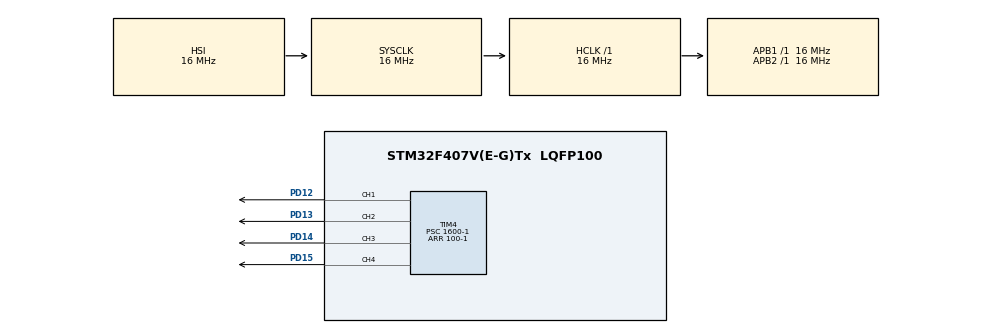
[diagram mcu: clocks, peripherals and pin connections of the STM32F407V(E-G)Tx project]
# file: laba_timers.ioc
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Dma.Request0=TIM4_CH2
Dma.TIM4_CH2.0.Direction=DMA_MEMORY_TO_PERIPH
Dma.TIM4_CH2.0.FIFOMode=DMA_FIFOMODE_DISABLE
Dma.TIM4_CH2.0.Instance=DMA1_Stream3
Dma.TIM4_CH2.0.MemDataAlignment=DMA_MDATAALIGN_HALFWORD
Dma.TIM4_CH2.0.MemInc=DMA_MINC_ENABLE
Dma.TIM4_CH2.0.Mode=DMA_CIRCULAR
Dma.TIM4_CH2.0.PeriphDataAlignment=DMA_PDATAALIGN_HALFWORD
Dma.TIM4_CH2.0.PeriphInc=DMA_PINC_DISABLE
Dma.TIM4_CH2.0.Priority=DMA_PRIORITY_LOW
Mcu.Family=STM32F4
Mcu.Name=STM32F407V(E-G)Tx
Mcu.Package=LQFP100
NVIC.DMA1_Stream3_IRQn=true\:0\:0\:false\:false\:true\:false\:true\:true
NVIC.PriorityGroup=NVIC_PRIORITYGROUP_4
NVIC.TIM6_DAC_IRQn=true\:0\:0\:false\:false\:true\:true\:true\:true
PA13.Mode=Serial_Wire
PA13.Signal=SYS_JTMS-SWDIO
PA14.Mode=Serial_Wire
PA14.Signal=SYS_JTCK-SWCLK
PD12.Signal=S_TIM4_CH1
PD13.Signal=S_TIM4_CH2
PD14.Signal=S_TIM4_CH3
PD15.Signal=S_TIM4_CH4
ProjectManager.HeapSize=0x200
ProjectManager.StackSize=0x400
ProjectManager.TargetToolchain=MDK-ARM V5.32
RCC.AHBFreq_Value=16000000
RCC.APB1Freq_Value=16000000
RCC.APB2Freq_Value=16000000
RCC.CortexFreq_Value=16000000
RCC.HSE_VALUE=25000000
RCC.HSI_VALUE=16000000
RCC.LSE_VALUE=32768
RCC.SYSCLKFreq_VALUE=16000000
RCC.VCOOutputFreq_Value=192000000
SH.S_TIM4_CH1.0=TIM4_CH1,PWM Generation1 CH1
SH.S_TIM4_CH2.0=TIM4_CH2,PWM Generation2 CH2
SH.S_TIM4_CH3.0=TIM4_CH3,PWM Generation3 CH3
SH.S_TIM4_CH4.0=TIM4_CH4,PWM Generation4 CH4
TIM4.Channel-PWM\ Generation1\ CH1=TIM_CHANNEL_1
TIM4.Channel-PWM\ Generation2\ CH2=TIM_CHANNEL_2
TIM4.Channel-PWM\ Generation3\ CH3=TIM_CHANNEL_3
TIM4.Channel-PWM\ Generation4\ CH4=TIM_CHANNEL_4
TIM4.OC1Preload_PWM=DISABLE
TIM4.OC2Preload_PWM=DISABLE
TIM4.OC3Preload_PWM=DISABLE
TIM4.OC4Preload_PWM=DISABLE
TIM4.OCMode_PWM-PWM\ Generation1\ CH1=TIM_OCMODE_PWM2
TIM4.OCMode_PWM-PWM\ Generation2\ CH2=TIM_OCMODE_PWM2
TIM4.OCMode_PWM-PWM\ Generation3\ CH3=TIM_OCMODE_PWM2
TIM4.OCMode_PWM-PWM\ Generation4\ CH4=TIM_OCMODE_PWM2
TIM4.OCPolarity_1=TIM_OCPOLARITY_LOW
TIM4.OCPolarity_2=TIM_OCPOLARITY_LOW
TIM4.OCPolarity_3=TIM_OCPOLARITY_LOW
TIM4.OCPolarity_4=TIM_OCPOLARITY_LOW
TIM4.Period=100-1
TIM4.Prescaler=1600-1
TIM6.Prescaler=16000-1
VP_TIM4_VS_ClockSourceINT.Mode=Internal
VP_TIM6_VS_ClockSourceINT.Mode=Enable_Timer
board=custom

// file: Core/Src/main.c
/* USER CODE BEGIN Header */
/**
  ******************************************************************************
  * @file           : main.c
  * @brief          : Main program body
  ******************************************************************************
  * @attention
  *
  * Copyright (c) 2024 STMicroelectronics.
  * All rights reserved.
  *
  * This software is licensed under terms that can be found in the LICENSE file
  * in the root directory of this software component.
  * If no LICENSE file comes with this software, it is provided AS-IS.
  *
  ******************************************************************************
  */
/* USER CODE END Header */
#include "main.h"
#include "dma.h"
#include "tim.h"
#include "gpio.h"

/* USER CODE BEGIN Includes */
#include <stdbool.h>
/* USER CODE END Includes */

/* USER CODE BEGIN PTD */
typedef enum
	{

	FLAG_TIMEOUT = 0,
  }flag_e_t;

  typedef struct{
    uint16_t power;
    bool up_power;
}LED_PowerState_s_t;

 typedef enum {
    BLUE,
    RED,
    ORANGE,
    GREEN
} LED_Color;

LED_PowerState_s_t LED_PowerState[4] = {
    {1, false},    //blue
    {25, false},    //red
    {50, false},     //orange
    {100, false}     //green
};

/* USER CODE END PTD */

/* USER CODE BEGIN PD */
#define LED_MASSIVE_POWER_MAX 200
/* USER CODE END PD */

/* USER CODE BEGIN PM */
#define FLAG_SET(flag) flags |= (1 << flag)
#define FLAG_RESET(flag) flags &= (~(1 << flag))
#define FLAG_CHECK(flag) (flags == (1 << flag))
/* USER CODE END PM */

/* USER CODE BEGIN PV */
  uint32_t flags = 0;
	uint16_t variable_timeout = 0;

	uint16_t led_mass_power[LED_MASSIVE_POWER_MAX] = {0};
/* USER CODE END PV */

void SystemClock_Config(void);
/* USER CODE BEGIN PFP */

void UpdateLEDs(void) {

       for (int i = 0; i < 4; i++) {
        if (LED_PowerState[i].up_power) {
            LED_PowerState[i].power++;
            if (LED_PowerState[i].power >= 100) {
                LED_PowerState[i].power = 100;
                LED_PowerState[i].up_power = false;
            }
        } else {
            LED_PowerState[i].power--;
            if (LED_PowerState[i].power == 0) {
                LED_PowerState[i].up_power = true;
            }
        }
    }

}
void ApplyPWM(void) {
    __HAL_TIM_SET_COMPARE(&htim4, TIM_CHANNEL_4, LED_PowerState[0].power);
    __HAL_TIM_SET_COMPARE(&htim4, TIM_CHANNEL_3, LED_PowerState[1].power);
    __HAL_TIM_SET_COMPARE(&htim4, TIM_CHANNEL_2, LED_PowerState[2].power);
    __HAL_TIM_SET_COMPARE(&htim4, TIM_CHANNEL_1, LED_PowerState[3].power);
}

/* USER CODE END PFP */

int main(void)
{

  /* MCU Configuration--------------------------------------------------------*/

  /* Reset of all peripherals, Initializes the Flash interface and the Systick. */
  HAL_Init();

  /* Configure the system clock */
  SystemClock_Config();

  /* Initialize all configured peripherals */
  MX_GPIO_Init();
  MX_DMA_Init();
  MX_TIM6_Init();
  MX_TIM4_Init();
  /* USER CODE BEGIN 2 */
	htim6.Init.Period = 100;
	HAL_TIM_Base_Init(&htim6);
	HAL_TIM_Base_Start_IT(&htim6);

	variable_timeout = 100;

	__HAL_TIM_SET_COMPARE(&htim4, TIM_CHANNEL_4, LED_PowerState[0].power);
  HAL_TIM_PWM_Start(&htim4, TIM_CHANNEL_4);
	__HAL_TIM_SET_COMPARE(&htim4, TIM_CHANNEL_3, LED_PowerState[1].power);
  HAL_TIM_PWM_Start(&htim4, TIM_CHANNEL_3);
	__HAL_TIM_SET_COMPARE(&htim4, TIM_CHANNEL_2, LED_PowerState[2].power);
  HAL_TIM_PWM_Start(&htim4, TIM_CHANNEL_2);
	__HAL_TIM_SET_COMPARE(&htim4, TIM_CHANNEL_1, LED_PowerState[3].power);
  HAL_TIM_PWM_Start(&htim4, TIM_CHANNEL_1);
  /* USER CODE END 2 */

  /* Infinite loop */
  while (1)
  {

    /* USER CODE BEGIN 3 */

    UpdateLEDs();
    ApplyPWM();
    HAL_Delay(20);

  }
  /* USER CODE END 3 */
}

void SystemClock_Config(void)
{
  RCC_OscInitTypeDef RCC_OscInitStruct = {0};
  RCC_ClkInitTypeDef RCC_ClkInitStruct = {0};

  /** Configure the main internal regulator output voltage
  */
  __HAL_RCC_PWR_CLK_ENABLE();
  __HAL_PWR_VOLTAGESCALING_CONFIG(PWR_REGULATOR_VOLTAGE_SCALE1);

  /** Initializes the RCC Oscillators according to the specified parameters
  * in the RCC_OscInitTypeDef structure.
  */
  RCC_OscInitStruct.OscillatorType = RCC_OSCILLATORTYPE_HSI;
  RCC_OscInitStruct.HSIState = RCC_HSI_ON;
  RCC_OscInitStruct.HSICalibrationValue = RCC_HSICALIBRATION_DEFAULT;
  RCC_OscInitStruct.PLL.PLLState = RCC_PLL_NONE;
  if (HAL_RCC_OscConfig(&RCC_OscInitStruct) != HAL_OK)
  {
    Error_Handler();
  }

  /** Initializes the CPU, AHB and APB buses clocks
  */
  RCC_ClkInitStruct.ClockType = RCC_CLOCKTYPE_HCLK|RCC_CLOCKTYPE_SYSCLK
                              |RCC_CLOCKTYPE_PCLK1|RCC_CLOCKTYPE_PCLK2;
  RCC_ClkInitStruct.SYSCLKSource = RCC_SYSCLKSOURCE_HSI;
  RCC_ClkInitStruct.AHBCLKDivider = RCC_SYSCLK_DIV1;
  RCC_ClkInitStruct.APB1CLKDivider = RCC_HCLK_DIV1;
  RCC_ClkInitStruct.APB2CLKDivider = RCC_HCLK_DIV1;

  if (HAL_RCC_ClockConfig(&RCC_ClkInitStruct, FLASH_LATENCY_0) != HAL_OK)
  {
    Error_Handler();
  }
}

/* USER CODE BEGIN 4 */
void HAL_TIM_PeriodElapsedCallback(TIM_HandleTypeDef *htim)
{
	if (htim == &htim6)
	{
	//	HAL_GPIO_TogglePin(LED_GREEN_GPIO_Port,LED_GREEN_Pin);
	}
}
/* USER CODE END 4 */

void Error_Handler(void)
{
  __disable_irq();
  while (1)
  {
  }
}
